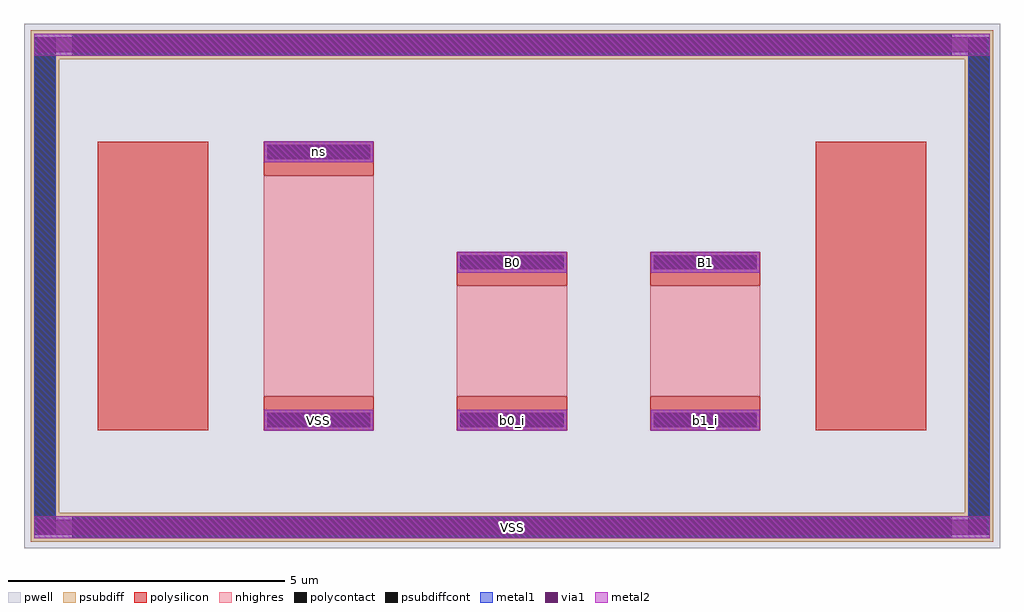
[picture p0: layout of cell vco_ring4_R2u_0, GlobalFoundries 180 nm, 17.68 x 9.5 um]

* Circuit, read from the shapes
.subckt vco_ring4_R2u_0 VSS ns b0_i B0 b1_i B1
XR1 ns VSS VSS ppolyf_u_1k r_width=2u r_length=4u
XR2 B0 b0_i VSS ppolyf_u_1k r_width=2u r_length=2u
XR3 B1 b1_i VSS ppolyf_u_1k r_width=2u r_length=2u
.ends

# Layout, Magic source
magic
tech gf180mcuD
magscale 1 10
<< pwell >>
rect -1068 -464 2468 1436
<< psubdiff >>
rect -1044 -440 2444 -336
rect -1044 1308 2444 1412
rect -1044 -336 -940 1308
rect 2340 -336 2444 1308
<< polysilicon >>
rect -200 886 200 1008
rect -200 -36 200 86
rect 500 486 900 608
rect 500 -36 900 86
rect 1200 486 1600 608
rect 1200 -36 1600 86
rect -800 -36 -400 1008
rect 1800 -36 2200 1008
<< nhighres >>
rect -200 86 200 886
rect 500 86 900 486
rect 1200 86 1600 486
<< psubdiffcont >>
rect -1031 -416 -953 1388
rect 2353 -416 2431 1388
rect -893 1321 2293 1399
rect -893 -427 2293 -349
<< polycontact >>
rect -187 949 187 995
rect -187 -23 187 23
rect 513 549 887 595
rect 513 -23 887 23
rect 1213 549 1587 595
rect 1213 -23 1587 23
<< metal1 >>
rect -198 949 198 995
rect -198 -23 198 23
rect 502 549 898 595
rect 502 -23 898 23
rect 1202 549 1598 595
rect 1202 -23 1598 23
rect -198 -38 198 38
rect -198 934 198 1010
rect 502 -38 898 38
rect 502 534 898 610
rect 1202 -38 1598 38
rect 1202 534 1598 610
rect -1031 -427 2431 -349
rect -1031 1321 2431 1399
rect -1031 -427 -953 1399
rect 2353 -427 2431 1399
rect -1031 -427 2431 -349
rect -1031 1321 2431 1399
<< metal2 >>
rect -198 -38 198 38
rect -198 934 198 1010
rect 502 -38 898 38
rect 502 534 898 610
rect 1202 -38 1598 38
rect 1202 534 1598 610
rect -1031 -427 2431 -349
rect -1031 1321 2431 1399
<< via1 >>
rect -186 -26 186 26
rect -186 946 186 998
rect 514 -26 886 26
rect 514 546 886 598
rect 1214 -26 1586 26
rect 1214 546 1586 598
rect -1019 -415 2419 -361
rect -1019 1333 2419 1387
<< labels >>
flabel metal2 s -198 -38 198 38 0 FreeSans 80 0 0 0 VSS
port 1 nsew signal bidirectional
flabel metal2 s -198 934 198 1010 0 FreeSans 80 0 0 0 ns
port 2 nsew signal bidirectional
flabel metal2 s 502 -38 898 38 0 FreeSans 80 0 0 0 b0_i
port 3 nsew signal bidirectional
flabel metal2 s 502 534 898 610 0 FreeSans 80 0 0 0 B0
port 4 nsew signal bidirectional
flabel metal2 s 1202 -38 1598 38 0 FreeSans 80 0 0 0 b1_i
port 5 nsew signal bidirectional
flabel metal2 s 1202 534 1598 610 0 FreeSans 80 0 0 0 B1
port 6 nsew signal bidirectional
flabel metal2 s -1031 -427 2431 -349 0 FreeSans 80 0 0 0 VSS
port 1 nsew signal bidirectional
<< end >>
